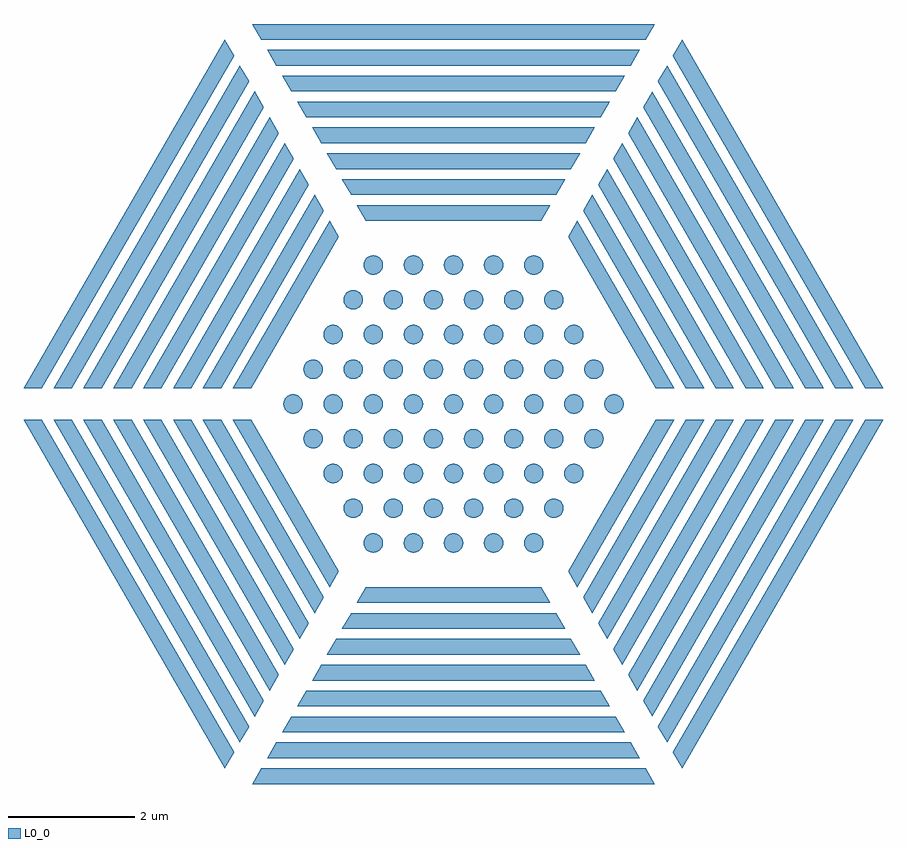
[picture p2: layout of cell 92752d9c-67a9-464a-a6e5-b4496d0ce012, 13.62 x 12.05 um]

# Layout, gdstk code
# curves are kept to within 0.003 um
import gdstk
lib = gdstk.Library(unit=1e-6, precision=1e-09)
def P(c, l, *ps):  # polygons
    for p in ps: c.add(gdstk.Polygon(p, *l))
L0_0 = (0, 0)

c_92752d9c_67a9_464a_a6e5_ = lib.new_cell('92752d9c-67a9-464a-a6e5-b4496d0ce012')
P(c_92752d9c_67a9_464a_a6e5_, L0_0, [(7.441,100),(7.438,100.032),(7.428,100.063),(7.397,100.108),(7.352,100.139),(7.321,100.149),(7.289,100.153),(7.256,100.149),(7.225,100.139),(7.181,100.108),(7.16,100.083),(7.15,100.063),(7.136,100.011),(7.142,99.957),(7.16,99.917),(7.173,99.9),(7.197,99.878),(7.225,99.861),(7.256,99.851),(7.289,99.847),(7.321,99.851),(7.352,99.861),(7.397,99.892),(7.428,99.937),(7.438,99.968)],
  [(6.805,100),(6.802,100.032),(6.792,100.063),(6.761,100.108),(6.716,100.139),(6.685,100.149),(6.653,100.153),(6.62,100.149),(6.589,100.139),(6.545,100.108),(6.524,100.083),(6.514,100.063),(6.5,100.011),(6.506,99.957),(6.524,99.917),(6.537,99.9),(6.561,99.878),(6.589,99.861),(6.62,99.851),(6.653,99.847),(6.685,99.851),(6.716,99.861),(6.761,99.892),(6.792,99.937),(6.802,99.968)],
  [(7.123,100.551),(7.12,100.583),(7.11,100.614),(7.079,100.659),(7.034,100.69),(6.982,100.703),(6.949,100.702),(6.917,100.694),(6.879,100.673),(6.855,100.651),(6.837,100.624),(6.824,100.594),(6.818,100.562),(6.824,100.508),(6.842,100.468),(6.855,100.451),(6.888,100.422),(6.907,100.412),(6.928,100.404),(6.971,100.398),(7.014,100.404),(7.034,100.412),(7.079,100.443),(7.11,100.487),(7.12,100.518)],
  [(7.759,100.551),(7.756,100.583),(7.746,100.614),(7.715,100.659),(7.67,100.69),(7.618,100.703),(7.585,100.702),(7.553,100.694),(7.515,100.673),(7.491,100.651),(7.473,100.624),(7.46,100.594),(7.454,100.562),(7.46,100.508),(7.478,100.468),(7.491,100.451),(7.524,100.422),(7.543,100.412),(7.564,100.404),(7.607,100.398),(7.65,100.404),(7.67,100.412),(7.715,100.443),(7.746,100.487),(7.756,100.518)],
  [(8.077,100),(8.074,100.032),(8.064,100.063),(8.033,100.108),(7.988,100.139),(7.957,100.149),(7.925,100.153),(7.892,100.149),(7.861,100.139),(7.817,100.108),(7.796,100.083),(7.786,100.063),(7.772,100.011),(7.778,99.957),(7.796,99.917),(7.809,99.9),(7.833,99.878),(7.861,99.861),(7.892,99.851),(7.925,99.847),(7.957,99.851),(7.988,99.861),(8.033,99.892),(8.064,99.937),(8.074,99.968)],
  [(7.759,99.449),(7.756,99.482),(7.746,99.513),(7.715,99.557),(7.67,99.588),(7.65,99.596),(7.607,99.602),(7.553,99.592),(7.507,99.565),(7.478,99.532),(7.468,99.513),(7.454,99.46),(7.46,99.406),(7.491,99.349),(7.515,99.327),(7.543,99.31),(7.596,99.297),(7.628,99.298),(7.66,99.306),(7.68,99.315),(7.715,99.341),(7.746,99.386),(7.756,99.417)],
  [(7.123,99.449),(7.12,99.482),(7.11,99.513),(7.079,99.557),(7.034,99.588),(7.014,99.596),(6.971,99.602),(6.917,99.592),(6.871,99.565),(6.842,99.532),(6.832,99.513),(6.818,99.46),(6.824,99.406),(6.855,99.349),(6.879,99.327),(6.907,99.31),(6.96,99.297),(6.992,99.298),(7.024,99.306),(7.044,99.315),(7.079,99.341),(7.11,99.386),(7.12,99.417)],
  [(6.169,100),(6.166,100.032),(6.156,100.063),(6.125,100.108),(6.08,100.139),(6.049,100.149),(6.017,100.153),(5.984,100.149),(5.953,100.139),(5.909,100.108),(5.888,100.083),(5.878,100.063),(5.864,100.011),(5.87,99.957),(5.888,99.917),(5.901,99.9),(5.925,99.878),(5.953,99.861),(5.984,99.851),(6.017,99.847),(6.049,99.851),(6.08,99.861),(6.125,99.892),(6.156,99.937),(6.166,99.968)],
  [(6.805,101.102),(6.802,101.134),(6.792,101.165),(6.761,101.21),(6.726,101.236),(6.706,101.245),(6.674,101.253),(6.642,101.254),(6.599,101.245),(6.58,101.236),(6.537,101.202),(6.506,101.145),(6.5,101.091),(6.506,101.059),(6.519,101.028),(6.537,101.002),(6.561,100.979),(6.62,100.952),(6.664,100.949),(6.716,100.963),(6.761,100.994),(6.792,101.038),(6.802,101.069)],
  [(8.077,101.102),(8.074,101.134),(8.064,101.165),(8.033,101.21),(7.998,101.236),(7.978,101.245),(7.946,101.253),(7.914,101.254),(7.871,101.245),(7.852,101.236),(7.809,101.202),(7.778,101.145),(7.772,101.091),(7.778,101.059),(7.791,101.028),(7.809,101.002),(7.833,100.979),(7.892,100.952),(7.936,100.949),(7.988,100.963),(8.033,100.994),(8.064,101.038),(8.074,101.069)],
  [(8.713,100),(8.71,100.032),(8.7,100.063),(8.669,100.108),(8.624,100.139),(8.593,100.149),(8.561,100.153),(8.528,100.149),(8.497,100.139),(8.453,100.108),(8.432,100.083),(8.422,100.063),(8.408,100.011),(8.414,99.957),(8.432,99.917),(8.445,99.9),(8.469,99.878),(8.497,99.861),(8.528,99.851),(8.561,99.847),(8.593,99.851),(8.624,99.861),(8.669,99.892),(8.7,99.937),(8.71,99.968)],
  [(8.077,98.898),(8.074,98.931),(8.064,98.962),(8.033,99.006),(7.988,99.037),(7.936,99.051),(7.892,99.048),(7.833,99.021),(7.809,98.998),(7.791,98.972),(7.778,98.941),(7.772,98.909),(7.778,98.855),(7.809,98.798),(7.852,98.764),(7.871,98.755),(7.914,98.746),(7.946,98.747),(7.978,98.755),(7.998,98.764),(8.033,98.79),(8.064,98.835),(8.074,98.866)],
  [(6.805,98.898),(6.802,98.931),(6.792,98.962),(6.761,99.006),(6.716,99.037),(6.664,99.051),(6.62,99.048),(6.561,99.021),(6.537,98.998),(6.519,98.972),(6.506,98.941),(6.5,98.909),(6.506,98.855),(6.537,98.798),(6.58,98.764),(6.599,98.755),(6.642,98.746),(6.674,98.747),(6.706,98.755),(6.726,98.764),(6.761,98.79),(6.792,98.835),(6.802,98.866)],
  [(6.487,100.551),(6.484,100.583),(6.474,100.614),(6.443,100.659),(6.398,100.69),(6.346,100.703),(6.313,100.702),(6.281,100.694),(6.243,100.673),(6.219,100.651),(6.201,100.624),(6.188,100.594),(6.182,100.562),(6.188,100.508),(6.206,100.468),(6.219,100.451),(6.252,100.422),(6.271,100.412),(6.292,100.404),(6.335,100.398),(6.378,100.404),(6.398,100.412),(6.443,100.443),(6.474,100.487),(6.484,100.518)],
  [(7.441,101.102),(7.438,101.134),(7.428,101.165),(7.397,101.21),(7.362,101.236),(7.342,101.245),(7.31,101.253),(7.278,101.254),(7.235,101.245),(7.216,101.236),(7.173,101.202),(7.142,101.145),(7.136,101.091),(7.142,101.059),(7.155,101.028),(7.173,101.002),(7.197,100.979),(7.256,100.952),(7.3,100.949),(7.352,100.963),(7.397,100.994),(7.428,101.038),(7.438,101.069)],
  [(8.395,100.551),(8.392,100.583),(8.382,100.614),(8.351,100.659),(8.306,100.69),(8.254,100.703),(8.221,100.702),(8.189,100.694),(8.151,100.673),(8.127,100.651),(8.109,100.624),(8.096,100.594),(8.09,100.562),(8.096,100.508),(8.114,100.468),(8.127,100.451),(8.16,100.422),(8.179,100.412),(8.2,100.404),(8.243,100.398),(8.286,100.404),(8.306,100.412),(8.351,100.443),(8.382,100.487),(8.392,100.518)],
  [(8.395,99.449),(8.392,99.482),(8.382,99.513),(8.351,99.557),(8.306,99.588),(8.286,99.596),(8.243,99.602),(8.189,99.592),(8.143,99.565),(8.114,99.532),(8.104,99.513),(8.09,99.46),(8.096,99.406),(8.127,99.349),(8.151,99.327),(8.179,99.31),(8.232,99.297),(8.264,99.298),(8.296,99.306),(8.316,99.315),(8.351,99.341),(8.382,99.386),(8.392,99.417)],
  [(7.441,98.898),(7.438,98.931),(7.428,98.962),(7.397,99.006),(7.352,99.037),(7.3,99.051),(7.256,99.048),(7.197,99.021),(7.173,98.998),(7.155,98.972),(7.142,98.941),(7.136,98.909),(7.142,98.855),(7.173,98.798),(7.216,98.764),(7.235,98.755),(7.278,98.746),(7.31,98.747),(7.342,98.755),(7.362,98.764),(7.397,98.79),(7.428,98.835),(7.438,98.866)],
  [(6.487,99.449),(6.484,99.482),(6.474,99.513),(6.443,99.557),(6.398,99.588),(6.378,99.596),(6.335,99.602),(6.281,99.592),(6.235,99.565),(6.206,99.532),(6.196,99.513),(6.182,99.46),(6.188,99.406),(6.219,99.349),(6.243,99.327),(6.271,99.31),(6.324,99.297),(6.356,99.298),(6.388,99.306),(6.408,99.315),(6.443,99.341),(6.474,99.386),(6.484,99.417)],
  [(5.533,100),(5.53,100.032),(5.52,100.063),(5.489,100.108),(5.444,100.139),(5.413,100.149),(5.381,100.153),(5.348,100.149),(5.317,100.139),(5.273,100.108),(5.252,100.083),(5.242,100.063),(5.228,100.011),(5.234,99.957),(5.252,99.917),(5.265,99.9),(5.289,99.878),(5.317,99.861),(5.348,99.851),(5.381,99.847),(5.413,99.851),(5.444,99.861),(5.489,99.892),(5.52,99.937),(5.53,99.968)],
  [(6.487,101.652),(6.484,101.685),(6.474,101.716),(6.443,101.76),(6.398,101.791),(6.346,101.805),(6.302,101.802),(6.243,101.775),(6.219,101.752),(6.201,101.726),(6.188,101.695),(6.182,101.663),(6.188,101.609),(6.219,101.552),(6.262,101.518),(6.281,101.509),(6.324,101.5),(6.356,101.501),(6.388,101.509),(6.408,101.518),(6.443,101.544),(6.474,101.589),(6.484,101.62)],
  [(8.395,101.652),(8.392,101.685),(8.382,101.716),(8.351,101.76),(8.306,101.791),(8.254,101.805),(8.21,101.802),(8.151,101.775),(8.127,101.752),(8.109,101.726),(8.096,101.695),(8.09,101.663),(8.096,101.609),(8.127,101.552),(8.17,101.518),(8.189,101.509),(8.232,101.5),(8.264,101.501),(8.296,101.509),(8.316,101.518),(8.351,101.544),(8.382,101.589),(8.392,101.62)],
  [(9.349,100),(9.346,100.032),(9.336,100.063),(9.305,100.108),(9.26,100.139),(9.229,100.149),(9.197,100.153),(9.164,100.149),(9.133,100.139),(9.089,100.108),(9.068,100.083),(9.058,100.063),(9.044,100.011),(9.05,99.957),(9.068,99.917),(9.081,99.9),(9.105,99.878),(9.133,99.861),(9.164,99.851),(9.197,99.847),(9.229,99.851),(9.26,99.861),(9.305,99.892),(9.336,99.937),(9.346,99.968)],
  [(8.395,98.348),(8.392,98.38),(8.382,98.411),(8.351,98.456),(8.316,98.482),(8.286,98.494),(8.254,98.5),(8.221,98.499),(8.189,98.491),(8.151,98.47),(8.127,98.448),(8.109,98.421),(8.096,98.391),(8.09,98.359),(8.096,98.305),(8.109,98.274),(8.127,98.248),(8.151,98.225),(8.179,98.209),(8.232,98.195),(8.286,98.201),(8.343,98.232),(8.365,98.256),(8.382,98.284),(8.392,98.315)],
  [(6.487,98.348),(6.484,98.38),(6.474,98.411),(6.443,98.456),(6.408,98.482),(6.378,98.494),(6.346,98.5),(6.313,98.499),(6.281,98.491),(6.243,98.47),(6.219,98.448),(6.201,98.421),(6.188,98.391),(6.182,98.359),(6.188,98.305),(6.201,98.274),(6.219,98.248),(6.243,98.225),(6.271,98.209),(6.324,98.195),(6.378,98.201),(6.435,98.232),(6.457,98.256),(6.474,98.284),(6.484,98.315)],
  [(5.851,100.551),(5.848,100.583),(5.838,100.614),(5.807,100.659),(5.762,100.69),(5.71,100.703),(5.677,100.702),(5.645,100.694),(5.607,100.673),(5.583,100.651),(5.565,100.624),(5.552,100.594),(5.546,100.562),(5.552,100.508),(5.57,100.468),(5.583,100.451),(5.616,100.422),(5.635,100.412),(5.656,100.404),(5.699,100.398),(5.742,100.404),(5.762,100.412),(5.807,100.443),(5.838,100.487),(5.848,100.518)],
  [(7.123,101.652),(7.12,101.685),(7.11,101.716),(7.079,101.76),(7.034,101.791),(6.982,101.805),(6.938,101.802),(6.879,101.775),(6.855,101.752),(6.837,101.726),(6.824,101.695),(6.818,101.663),(6.824,101.609),(6.855,101.552),(6.898,101.518),(6.917,101.509),(6.96,101.5),(6.992,101.501),(7.024,101.509),(7.044,101.518),(7.079,101.544),(7.11,101.589),(7.12,101.62)],
  [(8.713,101.102),(8.71,101.134),(8.7,101.165),(8.669,101.21),(8.634,101.236),(8.614,101.245),(8.582,101.253),(8.55,101.254),(8.507,101.245),(8.488,101.236),(8.445,101.202),(8.414,101.145),(8.408,101.091),(8.414,101.059),(8.427,101.028),(8.445,101.002),(8.469,100.979),(8.528,100.952),(8.572,100.949),(8.624,100.963),(8.669,100.994),(8.7,101.038),(8.71,101.069)],
  [(9.031,99.449),(9.028,99.482),(9.018,99.513),(8.987,99.557),(8.942,99.588),(8.922,99.596),(8.879,99.602),(8.825,99.592),(8.779,99.565),(8.75,99.532),(8.74,99.513),(8.726,99.46),(8.732,99.406),(8.763,99.349),(8.787,99.327),(8.815,99.31),(8.868,99.297),(8.9,99.298),(8.932,99.306),(8.952,99.315),(8.987,99.341),(9.018,99.386),(9.028,99.417)],
  [(7.759,98.348),(7.756,98.38),(7.746,98.411),(7.715,98.456),(7.68,98.482),(7.65,98.494),(7.618,98.5),(7.585,98.499),(7.553,98.491),(7.515,98.47),(7.491,98.448),(7.473,98.421),(7.46,98.391),(7.454,98.359),(7.46,98.305),(7.473,98.274),(7.491,98.248),(7.515,98.225),(7.543,98.209),(7.596,98.195),(7.65,98.201),(7.707,98.232),(7.729,98.256),(7.746,98.284),(7.756,98.315)],
  [(6.169,98.898),(6.166,98.931),(6.156,98.962),(6.125,99.006),(6.08,99.037),(6.028,99.051),(5.984,99.048),(5.925,99.021),(5.901,98.998),(5.883,98.972),(5.87,98.941),(5.864,98.909),(5.87,98.855),(5.901,98.798),(5.944,98.764),(5.963,98.755),(6.006,98.746),(6.038,98.747),(6.07,98.755),(6.09,98.764),(6.125,98.79),(6.156,98.835),(6.166,98.866)],
  [(6.169,101.102),(6.166,101.134),(6.156,101.165),(6.125,101.21),(6.09,101.236),(6.07,101.245),(6.038,101.253),(6.006,101.254),(5.963,101.245),(5.944,101.236),(5.901,101.202),(5.87,101.145),(5.864,101.091),(5.87,101.059),(5.883,101.028),(5.901,101.002),(5.925,100.979),(5.984,100.952),(6.028,100.949),(6.08,100.963),(6.125,100.994),(6.156,101.038),(6.166,101.069)],
  [(7.759,101.652),(7.756,101.685),(7.746,101.716),(7.715,101.76),(7.67,101.791),(7.618,101.805),(7.574,101.802),(7.515,101.775),(7.491,101.752),(7.473,101.726),(7.46,101.695),(7.454,101.663),(7.46,101.609),(7.491,101.552),(7.534,101.518),(7.553,101.509),(7.596,101.5),(7.628,101.501),(7.66,101.509),(7.68,101.518),(7.715,101.544),(7.746,101.589),(7.756,101.62)],
  [(9.031,100.551),(9.028,100.583),(9.018,100.614),(8.987,100.659),(8.942,100.69),(8.89,100.703),(8.857,100.702),(8.825,100.694),(8.787,100.673),(8.763,100.651),(8.745,100.624),(8.732,100.594),(8.726,100.562),(8.732,100.508),(8.75,100.468),(8.763,100.451),(8.796,100.422),(8.815,100.412),(8.836,100.404),(8.879,100.398),(8.922,100.404),(8.942,100.412),(8.987,100.443),(9.018,100.487),(9.028,100.518)],
  [(8.713,98.898),(8.71,98.931),(8.7,98.962),(8.669,99.006),(8.624,99.037),(8.572,99.051),(8.528,99.048),(8.469,99.021),(8.445,98.998),(8.427,98.972),(8.414,98.941),(8.408,98.909),(8.414,98.855),(8.445,98.798),(8.488,98.764),(8.507,98.755),(8.55,98.746),(8.582,98.747),(8.614,98.755),(8.634,98.764),(8.669,98.79),(8.7,98.835),(8.71,98.866)],
  [(7.123,98.348),(7.12,98.38),(7.11,98.411),(7.079,98.456),(7.044,98.482),(7.014,98.494),(6.982,98.5),(6.949,98.499),(6.917,98.491),(6.879,98.47),(6.855,98.448),(6.837,98.421),(6.824,98.391),(6.818,98.359),(6.824,98.305),(6.837,98.274),(6.855,98.248),(6.879,98.225),(6.907,98.209),(6.96,98.195),(7.014,98.201),(7.071,98.232),(7.093,98.256),(7.11,98.284),(7.12,98.315)],
  [(5.851,99.449),(5.848,99.482),(5.838,99.513),(5.807,99.557),(5.762,99.588),(5.742,99.596),(5.699,99.602),(5.645,99.592),(5.599,99.565),(5.57,99.532),(5.56,99.513),(5.546,99.46),(5.552,99.406),(5.583,99.349),(5.607,99.327),(5.635,99.31),(5.688,99.297),(5.72,99.298),(5.752,99.306),(5.772,99.315),(5.807,99.341),(5.838,99.386),(5.848,99.417)],
  [(4.897,100),(4.894,100.032),(4.884,100.063),(4.853,100.108),(4.808,100.139),(4.777,100.149),(4.745,100.153),(4.712,100.149),(4.681,100.139),(4.637,100.108),(4.616,100.083),(4.606,100.063),(4.592,100.011),(4.598,99.957),(4.616,99.917),(4.629,99.9),(4.653,99.878),(4.681,99.861),(4.712,99.851),(4.745,99.847),(4.777,99.851),(4.808,99.861),(4.853,99.892),(4.884,99.937),(4.894,99.968)],
  [(6.169,102.203),(6.166,102.236),(6.156,102.267),(6.125,102.311),(6.08,102.342),(6.06,102.35),(6.017,102.356),(5.963,102.346),(5.917,102.319),(5.888,102.286),(5.878,102.267),(5.864,102.214),(5.87,102.16),(5.901,102.103),(5.925,102.081),(5.953,102.064),(6.006,102.051),(6.038,102.052),(6.07,102.06),(6.09,102.069),(6.125,102.095),(6.156,102.14),(6.166,102.171)],
  [(8.713,102.203),(8.71,102.236),(8.7,102.267),(8.669,102.311),(8.624,102.342),(8.604,102.35),(8.561,102.356),(8.507,102.346),(8.461,102.319),(8.432,102.286),(8.422,102.267),(8.408,102.214),(8.414,102.16),(8.445,102.103),(8.469,102.081),(8.497,102.064),(8.55,102.051),(8.582,102.052),(8.614,102.06),(8.634,102.069),(8.669,102.095),(8.7,102.14),(8.71,102.171)],
  [(9.985,100),(9.982,100.032),(9.972,100.063),(9.941,100.108),(9.896,100.139),(9.865,100.149),(9.833,100.153),(9.8,100.149),(9.769,100.139),(9.725,100.108),(9.704,100.083),(9.694,100.063),(9.68,100.011),(9.686,99.957),(9.704,99.917),(9.717,99.9),(9.741,99.878),(9.769,99.861),(9.8,99.851),(9.833,99.847),(9.865,99.851),(9.896,99.861),(9.941,99.892),(9.972,99.937),(9.982,99.968)],
  [(8.713,97.797),(8.71,97.829),(8.7,97.86),(8.669,97.905),(8.624,97.936),(8.572,97.949),(8.539,97.948),(8.507,97.94),(8.469,97.919),(8.445,97.897),(8.427,97.87),(8.414,97.84),(8.408,97.808),(8.414,97.754),(8.432,97.714),(8.445,97.697),(8.478,97.668),(8.497,97.658),(8.518,97.65),(8.561,97.644),(8.604,97.65),(8.624,97.658),(8.669,97.689),(8.7,97.733),(8.71,97.764)],
  [(6.169,97.797),(6.166,97.829),(6.156,97.86),(6.125,97.905),(6.08,97.936),(6.028,97.949),(5.995,97.948),(5.963,97.94),(5.925,97.919),(5.901,97.897),(5.883,97.87),(5.87,97.84),(5.864,97.808),(5.87,97.754),(5.888,97.714),(5.901,97.697),(5.934,97.668),(5.953,97.658),(5.974,97.65),(6.017,97.644),(6.06,97.65),(6.08,97.658),(6.125,97.689),(6.156,97.733),(6.166,97.764)],
  [(5.215,100.551),(5.212,100.583),(5.202,100.614),(5.171,100.659),(5.126,100.69),(5.074,100.703),(5.041,100.702),(5.009,100.694),(4.971,100.673),(4.947,100.651),(4.929,100.624),(4.916,100.594),(4.91,100.562),(4.916,100.508),(4.934,100.468),(4.947,100.451),(4.98,100.422),(4.999,100.412),(5.02,100.404),(5.063,100.398),(5.106,100.404),(5.126,100.412),(5.171,100.443),(5.202,100.487),(5.212,100.518)],
  [(6.805,102.203),(6.802,102.236),(6.792,102.267),(6.761,102.311),(6.716,102.342),(6.696,102.35),(6.653,102.356),(6.599,102.346),(6.553,102.319),(6.524,102.286),(6.514,102.267),(6.5,102.214),(6.506,102.16),(6.537,102.103),(6.561,102.081),(6.589,102.064),(6.642,102.051),(6.674,102.052),(6.706,102.06),(6.726,102.069),(6.761,102.095),(6.792,102.14),(6.802,102.171)],
  [(9.031,101.652),(9.028,101.685),(9.018,101.716),(8.987,101.76),(8.942,101.791),(8.89,101.805),(8.846,101.802),(8.787,101.775),(8.763,101.752),(8.745,101.726),(8.732,101.695),(8.726,101.663),(8.732,101.609),(8.763,101.552),(8.806,101.518),(8.825,101.509),(8.868,101.5),(8.9,101.501),(8.932,101.509),(8.952,101.518),(8.987,101.544),(9.018,101.589),(9.028,101.62)],
  [(9.667,99.449),(9.664,99.482),(9.654,99.513),(9.623,99.557),(9.578,99.588),(9.558,99.596),(9.515,99.602),(9.461,99.592),(9.415,99.565),(9.386,99.532),(9.376,99.513),(9.362,99.46),(9.368,99.406),(9.399,99.349),(9.423,99.327),(9.451,99.31),(9.504,99.297),(9.536,99.298),(9.568,99.306),(9.588,99.315),(9.623,99.341),(9.654,99.386),(9.664,99.417)],
  [(8.077,97.797),(8.074,97.829),(8.064,97.86),(8.033,97.905),(7.988,97.936),(7.936,97.949),(7.903,97.948),(7.871,97.94),(7.833,97.919),(7.809,97.897),(7.791,97.87),(7.778,97.84),(7.772,97.808),(7.778,97.754),(7.796,97.714),(7.809,97.697),(7.842,97.668),(7.861,97.658),(7.882,97.65),(7.925,97.644),(7.968,97.65),(7.988,97.658),(8.033,97.689),(8.064,97.733),(8.074,97.764)],
  [(5.851,98.348),(5.848,98.38),(5.838,98.411),(5.807,98.456),(5.772,98.482),(5.742,98.494),(5.71,98.5),(5.677,98.499),(5.645,98.491),(5.607,98.47),(5.583,98.448),(5.565,98.421),(5.552,98.391),(5.546,98.359),(5.552,98.305),(5.565,98.274),(5.583,98.248),(5.607,98.225),(5.635,98.209),(5.688,98.195),(5.742,98.201),(5.799,98.232),(5.821,98.256),(5.838,98.284),(5.848,98.315)],
  [(5.533,101.102),(5.53,101.134),(5.52,101.165),(5.489,101.21),(5.454,101.236),(5.434,101.245),(5.402,101.253),(5.37,101.254),(5.327,101.245),(5.308,101.236),(5.265,101.202),(5.234,101.145),(5.228,101.091),(5.234,101.059),(5.247,101.028),(5.265,101.002),(5.289,100.979),(5.348,100.952),(5.392,100.949),(5.444,100.963),(5.489,100.994),(5.52,101.038),(5.53,101.069)],
  [(7.441,102.203),(7.438,102.236),(7.428,102.267),(7.397,102.311),(7.352,102.342),(7.332,102.35),(7.289,102.356),(7.235,102.346),(7.189,102.319),(7.16,102.286),(7.15,102.267),(7.136,102.214),(7.142,102.16),(7.173,102.103),(7.197,102.081),(7.225,102.064),(7.278,102.051),(7.31,102.052),(7.342,102.06),(7.362,102.069),(7.397,102.095),(7.428,102.14),(7.438,102.171)],
  [(9.349,101.102),(9.346,101.134),(9.336,101.165),(9.305,101.21),(9.27,101.236),(9.25,101.245),(9.218,101.253),(9.186,101.254),(9.143,101.245),(9.124,101.236),(9.081,101.202),(9.05,101.145),(9.044,101.091),(9.05,101.059),(9.063,101.028),(9.081,101.002),(9.105,100.979),(9.164,100.952),(9.208,100.949),(9.26,100.963),(9.305,100.994),(9.336,101.038),(9.346,101.069)],
  [(9.349,98.898),(9.346,98.931),(9.336,98.962),(9.305,99.006),(9.26,99.037),(9.208,99.051),(9.164,99.048),(9.105,99.021),(9.081,98.998),(9.063,98.972),(9.05,98.941),(9.044,98.909),(9.05,98.855),(9.081,98.798),(9.124,98.764),(9.143,98.755),(9.186,98.746),(9.218,98.747),(9.25,98.755),(9.27,98.764),(9.305,98.79),(9.336,98.835),(9.346,98.866)],
  [(7.441,97.797),(7.438,97.829),(7.428,97.86),(7.397,97.905),(7.352,97.936),(7.3,97.949),(7.267,97.948),(7.235,97.94),(7.197,97.919),(7.173,97.897),(7.155,97.87),(7.142,97.84),(7.136,97.808),(7.142,97.754),(7.16,97.714),(7.173,97.697),(7.206,97.668),(7.225,97.658),(7.246,97.65),(7.289,97.644),(7.332,97.65),(7.352,97.658),(7.397,97.689),(7.428,97.733),(7.438,97.764)],
  [(5.533,98.898),(5.53,98.931),(5.52,98.962),(5.489,99.006),(5.444,99.037),(5.392,99.051),(5.348,99.048),(5.289,99.021),(5.265,98.998),(5.247,98.972),(5.234,98.941),(5.228,98.909),(5.234,98.855),(5.265,98.798),(5.308,98.764),(5.327,98.755),(5.37,98.746),(5.402,98.747),(5.434,98.755),(5.454,98.764),(5.489,98.79),(5.52,98.835),(5.53,98.866)],
  [(5.851,101.652),(5.848,101.685),(5.838,101.716),(5.807,101.76),(5.762,101.791),(5.71,101.805),(5.666,101.802),(5.607,101.775),(5.583,101.752),(5.565,101.726),(5.552,101.695),(5.546,101.663),(5.552,101.609),(5.583,101.552),(5.626,101.518),(5.645,101.509),(5.688,101.5),(5.72,101.501),(5.752,101.509),(5.772,101.518),(5.807,101.544),(5.838,101.589),(5.848,101.62)],
  [(8.077,102.203),(8.074,102.236),(8.064,102.267),(8.033,102.311),(7.988,102.342),(7.968,102.35),(7.925,102.356),(7.871,102.346),(7.825,102.319),(7.796,102.286),(7.786,102.267),(7.772,102.214),(7.778,102.16),(7.809,102.103),(7.833,102.081),(7.861,102.064),(7.914,102.051),(7.946,102.052),(7.978,102.06),(7.998,102.069),(8.033,102.095),(8.064,102.14),(8.074,102.171)],
  [(9.667,100.551),(9.664,100.583),(9.654,100.614),(9.623,100.659),(9.578,100.69),(9.526,100.703),(9.493,100.702),(9.461,100.694),(9.423,100.673),(9.399,100.651),(9.381,100.624),(9.368,100.594),(9.362,100.562),(9.368,100.508),(9.386,100.468),(9.399,100.451),(9.432,100.422),(9.451,100.412),(9.472,100.404),(9.515,100.398),(9.558,100.404),(9.578,100.412),(9.623,100.443),(9.654,100.487),(9.664,100.518)],
  [(9.031,98.348),(9.028,98.38),(9.018,98.411),(8.987,98.456),(8.952,98.482),(8.922,98.494),(8.89,98.5),(8.857,98.499),(8.825,98.491),(8.787,98.47),(8.763,98.448),(8.745,98.421),(8.732,98.391),(8.726,98.359),(8.732,98.305),(8.745,98.274),(8.763,98.248),(8.787,98.225),(8.815,98.209),(8.868,98.195),(8.922,98.201),(8.979,98.232),(9.001,98.256),(9.018,98.284),(9.028,98.315)],
  [(6.805,97.797),(6.802,97.829),(6.792,97.86),(6.761,97.905),(6.716,97.936),(6.664,97.949),(6.631,97.948),(6.599,97.94),(6.561,97.919),(6.537,97.897),(6.519,97.87),(6.506,97.84),(6.5,97.808),(6.506,97.754),(6.524,97.714),(6.537,97.697),(6.57,97.668),(6.589,97.658),(6.61,97.65),(6.653,97.644),(6.696,97.65),(6.716,97.658),(6.761,97.689),(6.792,97.733),(6.802,97.764)],
  [(5.215,99.449),(5.212,99.482),(5.202,99.513),(5.171,99.557),(5.126,99.588),(5.106,99.596),(5.063,99.602),(5.009,99.592),(4.963,99.565),(4.934,99.532),(4.924,99.513),(4.91,99.46),(4.916,99.406),(4.947,99.349),(4.971,99.327),(4.999,99.31),(5.052,99.297),(5.084,99.298),(5.116,99.306),(5.136,99.315),(5.171,99.341),(5.202,99.386),(5.212,99.417)],
  [(8.821,103.154),(5.756,103.154),(5.901,102.904),(8.677,102.904)],
  [(9.254,102.904),(9.11,102.654),(10.498,100.25),(10.787,100.25)],
  [(5.468,102.654),(5.323,102.904),(3.79,100.25),(4.079,100.25)],
  [(10.787,99.75),(10.498,99.75),(9.11,97.346),(9.254,97.096)],
  [(5.468,97.346),(4.079,99.75),(3.79,99.75),(5.323,97.096)],
  [(8.677,97.096),(5.901,97.096),(5.756,96.846),(8.821,96.846)],
  [(9.058,103.564),(5.52,103.564),(5.664,103.314),(8.914,103.314)],
  [(9.491,103.314),(9.346,103.064),(10.972,100.25),(11.26,100.25)],
  [(5.231,103.064),(5.087,103.314),(3.317,100.25),(3.606,100.25)],
  [(11.26,99.75),(10.972,99.75),(9.346,96.936),(9.491,96.686)],
  [(5.231,96.936),(3.606,99.75),(3.317,99.75),(5.087,96.686)],
  [(8.914,96.686),(5.664,96.686),(5.52,96.436),(9.058,96.436)],
  [(9.295,103.974),(5.283,103.974),(5.427,103.724),(9.15,103.724)],
  [(9.728,103.724),(9.583,103.474),(11.445,100.25),(11.734,100.25)],
  [(4.994,103.474),(4.85,103.724),(2.844,100.25),(3.132,100.25)],
  [(11.734,99.75),(11.445,99.75),(9.583,96.526),(9.728,96.276)],
  [(4.994,96.526),(3.132,99.75),(2.844,99.75),(4.85,96.276)],
  [(9.15,96.276),(5.427,96.276),(5.283,96.026),(9.295,96.026)],
  [(9.531,104.384),(5.046,104.384),(5.19,104.134),(9.387,104.134)],
  [(9.964,104.134),(9.82,103.884),(11.919,100.25),(12.207,100.25)],
  [(4.758,103.884),(4.613,104.134),(2.37,100.25),(2.659,100.25)],
  [(12.207,99.75),(11.919,99.75),(9.82,96.116),(9.964,95.866)],
  [(4.758,96.116),(2.659,99.75),(2.37,99.75),(4.613,95.866)],
  [(9.387,95.866),(5.19,95.866),(5.046,95.616),(9.531,95.616)],
  [(9.768,104.794),(4.809,104.794),(4.954,104.544),(9.624,104.544)],
  [(10.201,104.544),(10.057,104.294),(12.392,100.25),(12.681,100.25)],
  [(4.521,104.294),(4.377,104.544),(1.897,100.25),(2.185,100.25)],
  [(12.681,99.75),(12.392,99.75),(10.057,95.706),(10.201,95.456)],
  [(4.521,95.706),(2.185,99.75),(1.897,99.75),(4.377,95.456)],
  [(9.624,95.456),(4.954,95.456),(4.809,95.206),(9.768,95.206)],
  [(10.005,105.204),(4.573,105.204),(4.717,104.954),(9.861,104.954)],
  [(4.284,104.704),(4.14,104.954),(1.423,100.25),(1.712,100.25)],
  [(10.438,104.953),(10.294,104.704),(12.866,100.25),(13.154,100.25)],
  [(13.154,99.75),(12.866,99.75),(10.294,95.296),(10.438,95.047)],
  [(4.284,95.296),(1.712,99.75),(1.423,99.75),(4.14,95.046)],
  [(9.861,95.046),(4.717,95.046),(4.573,94.796),(10.005,94.796)],
  [(10.242,105.614),(4.336,105.614),(4.48,105.364),(10.097,105.364)],
  [(10.675,105.364),(10.53,105.114),(13.339,100.25),(13.628,100.25)],
  [(4.047,105.114),(3.903,105.364),(0.95,100.25),(1.238,100.25)],
  [(13.628,99.75),(13.339,99.75),(10.53,94.886),(10.675,94.636)],
  [(4.047,94.886),(1.238,99.75),(0.95,99.75),(3.903,94.636)],
  [(10.097,94.636),(4.48,94.636),(4.336,94.386),(10.242,94.386)],
  [(10.479,106.024),(4.099,106.024),(4.244,105.774),(10.334,105.774)],
  [(10.911,105.774),(10.767,105.524),(13.812,100.25),(14.101,100.25)],
  [(3.811,105.524),(3.666,105.774),(0.476,100.25),(0.765,100.25)],
  [(14.101,99.75),(13.812,99.75),(10.767,94.476),(10.911,94.226)],
  [(3.811,94.476),(0.765,99.75),(0.476,99.75),(3.666,94.226)],
  [(10.334,94.226),(4.244,94.226),(4.099,93.976),(10.479,93.976)])

lib.write_gds('92752d9c-67a9-464a-a6e5-b4496d0ce012.gds')
